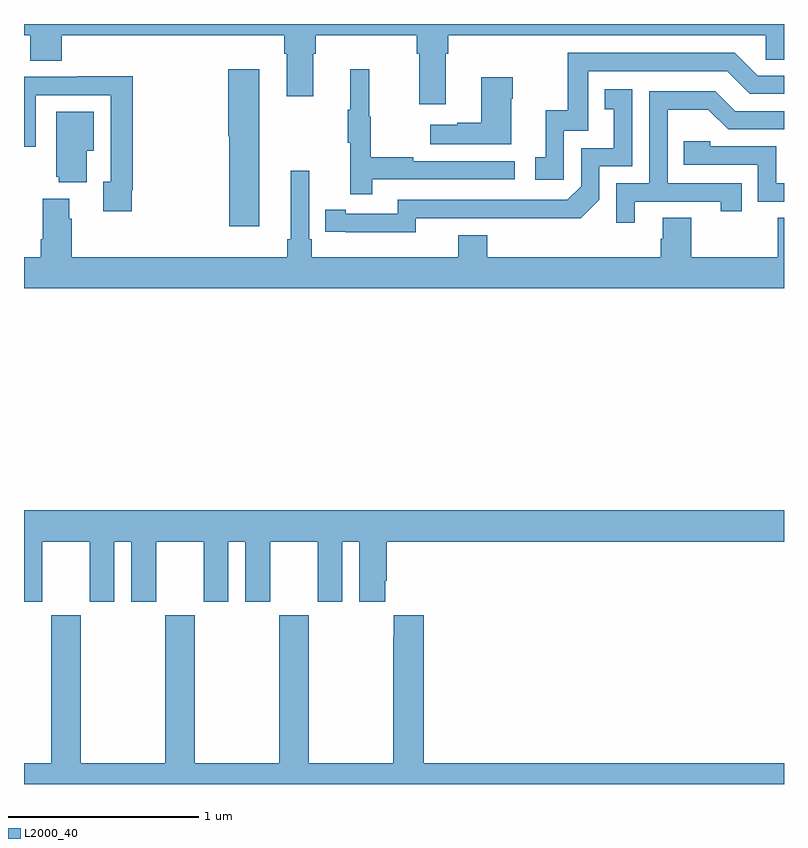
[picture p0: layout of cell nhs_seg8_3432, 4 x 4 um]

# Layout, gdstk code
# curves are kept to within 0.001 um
import gdstk
lib = gdstk.Library(unit=1e-6, precision=1e-09)
def P(c, l, *ps):  # polygons
    for p in ps: c.add(gdstk.Polygon(p, *l))
L2000_40 = (2000, 40)

nhs_seg8_3432 = lib.new_cell('nhs_seg8_3432')
P(nhs_seg8_3432, L2000_40, [(325.219,1109.744),(325.232,1109.744),(325.232,1109.84),(326.904,1109.84),(326.904,1109.713),(327,1109.713),(327,1109.9),(323,1109.9),(323,1109.84),(323.033,1109.84),(323.033,1109.707),(323.198,1109.707),(323.198,1109.84),(324.371,1109.84),(324.371,1109.744),(324.383,1109.744),(324.383,1109.52),(324.523,1109.52),(324.523,1109.744),(324.536,1109.744),(324.536,1109.84),(325.067,1109.84),(325.067,1109.744),(325.079,1109.744),(325.079,1109.478),(325.219,1109.478)],
  [(325.842,1109.337),(325.971,1109.337),(325.971,1109.652),(326.7,1109.652),(326.82,1109.532),(327,1109.532),(327,1109.628),(326.862,1109.628),(326.742,1109.748),(325.863,1109.748),(325.863,1109.446),(325.745,1109.446),(325.745,1109.199),(325.692,1109.199),(325.692,1109.079),(325.842,1109.079)],
  [(324.238,1109.662),(324.074,1109.662),(324.074,1109.31),(324.08,1109.31),(324.08,1108.836),(324.238,1108.836)],
  [(324.833,1109.082),(325.582,1109.082),(325.582,1109.178),(325.049,1109.178),(325.049,1109.198),(324.826,1109.198),(324.826,1109.412),(324.818,1109.412),(324.818,1109.662),(324.716,1109.662),(324.716,1109.449),(324.705,1109.449),(324.705,1109.275),(324.716,1109.275),(324.716,1109.004),(324.833,1109.004)],
  [(323.566,1109.026),(323.573,1109.026),(323.573,1109.624),(323.281,1109.624),(323.281,1109.622),(323,1109.622),(323,1109.253),(323.061,1109.253),(323.061,1109.526),(323.457,1109.526),(323.457,1109.07),(323.417,1109.07),(323.417,1108.914),(323.566,1108.914)],
  [(325.564,1109.507),(325.572,1109.507),(325.572,1109.62),(325.406,1109.62),(325.406,1109.381),(325.28,1109.381),(325.28,1109.371),(325.137,1109.371),(325.137,1109.267),(325.564,1109.267)],
  [(325.062,1108.878),(325.93,1108.877),(326.028,1108.974),(326.028,1109.151),(326.202,1109.151),(326.202,1109.557),(326.056,1109.557),(326.056,1109.451),(326.105,1109.451),(326.105,1109.247),(325.932,1109.247),(325.932,1109.046),(325.86,1108.974),(324.966,1108.974),(324.966,1108.902),(324.694,1108.902),(324.694,1108.922),(324.586,1108.922),(324.586,1108.806),(325.062,1108.805)],
  [(326.215,1108.965),(326.666,1108.965),(326.666,1108.914),(326.777,1108.914),(326.777,1109.061),(326.388,1109.061),(326.388,1109.45),(326.602,1109.45),(326.706,1109.346),(327,1109.346),(327,1109.442),(326.743,1109.442),(326.638,1109.547),(326.292,1109.547),(326.292,1109.061),(326.118,1109.061),(326.118,1108.854),(326.215,1108.854)],
  [(323.329,1109.234),(323.368,1109.234),(323.368,1109.437),(323.171,1109.437),(323.171,1109.097),(323.183,1109.097),(323.183,1109.066),(323.329,1109.066)],
  [(327,1109.061),(326.958,1109.061),(326.958,1109.256),(326.613,1109.256),(326.613,1109.283),(326.473,1109.283),(326.473,1109.16),(326.862,1109.16),(326.862,1108.965),(327,1108.965)],
  [(327,1108.88),(326.968,1108.88),(326.968,1108.672),(326.511,1108.672),(326.511,1108.88),(326.363,1108.88),(326.363,1108.77),(326.351,1108.77),(326.351,1108.672),(325.439,1108.672),(325.439,1108.789),(325.286,1108.789),(325.286,1108.672),(324.515,1108.672),(324.515,1108.768),(324.501,1108.768),(324.501,1109.128),(324.404,1109.128),(324.404,1108.768),(324.385,1108.768),(324.385,1108.672),(323.252,1108.672),(323.252,1108.874),(323.239,1108.874),(323.239,1108.981),(323.099,1108.981),(323.099,1108.768),(323.087,1108.768),(323.087,1108.672),(323,1108.672),(323,1108.508),(327,1108.508)],
  [(323.095,1107.176),(323.345,1107.176),(323.345,1106.859),(323.476,1106.859),(323.476,1107.176),(323.564,1107.176),(323.564,1106.859),(323.695,1106.859),(323.695,1107.176),(323.945,1107.176),(323.945,1106.859),(324.076,1106.859),(324.076,1107.176),(324.164,1107.176),(324.164,1106.859),(324.295,1106.859),(324.295,1107.176),(324.545,1107.176),(324.545,1106.859),(324.676,1106.859),(324.676,1107.176),(324.764,1107.176),(324.764,1106.859),(324.901,1106.859),(324.901,1106.971),(324.908,1106.971),(324.908,1107.176),(327,1107.176),(327,1107.34),(323,1107.34),(323,1106.859),(323.095,1106.859)],
  [(327,1106.008),(325.103,1106.008),(325.103,1106.788),(324.947,1106.788),(324.947,1106.675),(324.943,1106.675),(324.943,1106.008),(324.498,1106.008),(324.498,1106.788),(324.343,1106.788),(324.343,1106.008),(323.898,1106.008),(323.898,1106.788),(323.743,1106.788),(323.743,1106.008),(323.298,1106.008),(323.298,1106.788),(323.143,1106.788),(323.143,1106.008),(323,1106.008),(323,1105.9),(327,1105.9)])

lib.write_gds('nhs_seg8_3432.gds')
